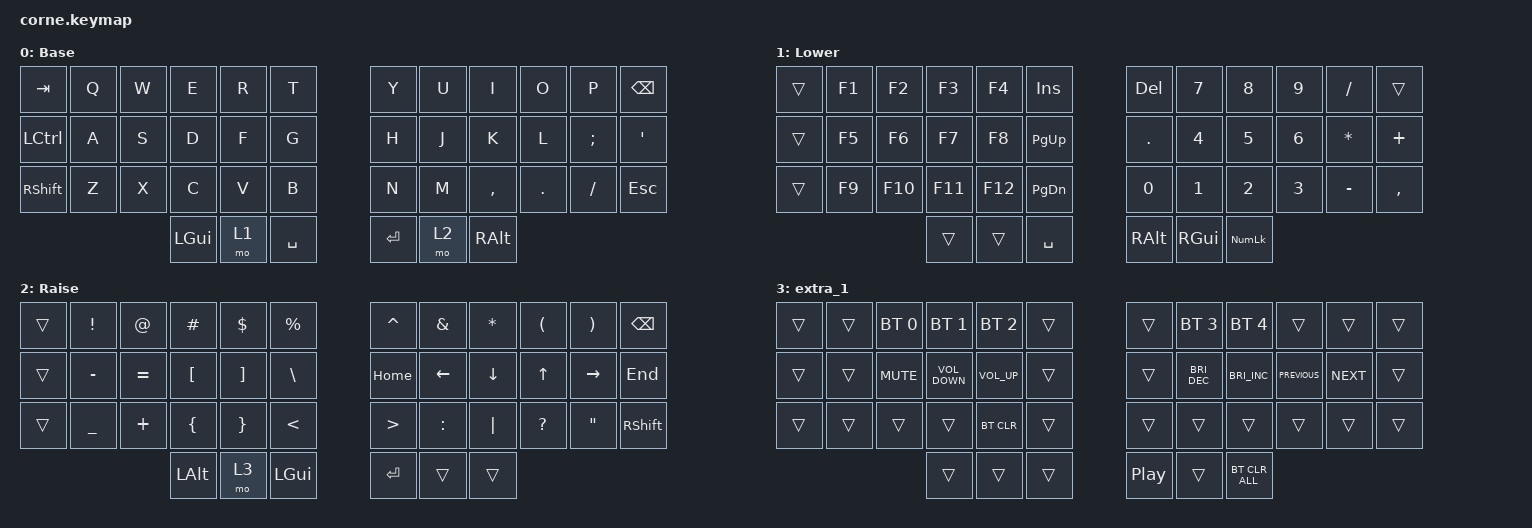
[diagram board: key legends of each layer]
/*
 * Copyright (c) 2020 The ZMK Contributors
 *
 * SPDX-License-Identifier: MIT
 */

#include <behaviors.dtsi>
#include <dt-bindings/zmk/bt.h>
#include <dt-bindings/zmk/keys.h>

/ {
    combos {
        compatible = "zmk,combos";

        caps {
            bindings = <&kp CAPSLOCK>;
            key-positions = <24 35>;
        };

        shift_right {
            bindings = <&kp RIGHT_SHIFT>;
            key-positions = <19 20>;
        };

        ctrl_right {
            bindings = <&kp RCTRL>;
            key-positions = <19 20 21>;
        };

        shift_left {
            bindings = <&kp LEFT_SHIFT>;
            key-positions = <16 15>;
        };

        ctrl_left {
            bindings = <&kp LEFT_CONTROL>;
            key-positions = <16 15 14>;
        };

        alt_righ {
            bindings = <&kp LEFT_ALT>;
            key-positions = <3 4>;
        };
    };

    keymap {
        compatible = "zmk,keymap";

        base_layer {
            // -----------------------------------------------------------------------------------------
            // |  TAB |  Q  |  W  |  E   |  R  |  T  |   |  Y  |  U   |  I  |  O  |  P  | BKSP |
            // | CTRL |  A  |  S  |  D   |  F  |  G  |   |  H  |  J   |  K  |  L  |  ;  |  '   |
            // | SHFT |  Z  |  X  |  C   |  V  |  B  |   |  N  |  M   |  ,  |  .  |  /  | ESC  |
            //                    | caps | LWR | SPC |   | ENT | RSE  | DEL |

            display-name = "Base";
            bindings = <
&kp TAB          &kp Q  &kp W  &kp E         &kp R  &kp T        &kp Y    &kp U  &kp I          &kp O    &kp P          &kp BSPC
&kp LCTRL        &kp A  &kp S  &kp D         &kp F  &kp G        &kp H    &kp J  &kp K          &kp L    &kp SEMICOLON  &kp SQT
&kp RIGHT_SHIFT  &kp Z  &kp X  &kp C         &kp V  &kp B        &kp N    &kp M  &kp COMMA      &kp DOT  &kp FSLH       &kp ESC
                               &kp LEFT_GUI  &mo 1  &kp SPACE    &kp RET  &mo 2  &kp RIGHT_ALT
            >;
        };

        number_layer {
            // -----------------------------------------------------------------------------------------
            // |  TAB |  F1  |  F2  |  F3  | F4 |   INS    |   |  DEL  |  7  |  8    |  9  |  /  | BKSP |
            // | CTRL |  F5  |  F6  |  F7  | F8 |  P_UP    |   |   .   |  4  |  5    |  6  |  *  |   +  | 
            // | SHFT |  F9  |  F10 |  F11 | F12|  P_DOWN  |   | 0     |  1  |  2    |  3  |  -  |   ,  |
            //                      |      |    |  SPC     |   | ENT   |     | b_num |

            display-name = "Lower";
            bindings = <
&trans  &kp F1  &kp F2   &kp F3   &kp F4   &kp INSERT       &kp DELETE     &kp N7         &kp N8        &kp N9        &kp SLASH     &trans
&trans  &kp F5  &kp F6   &kp F7   &kp F8   &kp PAGE_UP      &kp PERIOD     &kp NUMBER_4   &kp N5        &kp NUMBER_6  &kp ASTERISK  &kp PLUS
&trans  &kp F9  &kp F10  &kp F11  &kp F12  &kp PAGE_DOWN    &kp N0         &kp NUMBER_1   &kp NUMBER_2  &kp NUMBER_3  &kp MINUS     &kp COMMA
                         &trans   &trans   &kp SPACE        &kp RIGHT_ALT  &kp RIGHT_GUI  &kp KP_NUM
            >;
        };

        symbol_layer {
            // -----------------------------------------------------------------------------------------
            // |  TAB |  !  |  @  |  #  |  $   |  %  |   |  ^   |  &    |  *   |  (   |  )     |  BKSP |
            // | CTRL |  -  |  =  |  [  |  ]   |  \  |   | HOME |  LEFT | DOWN |  UP  |  RIGHT |  END  |
            // | SHFT |  _  |  +  |  {  |  }   |  <  |   |  >   |   :   |   |  |  ?   |   "    |  SHFT |
            //                    |     |  MO3 | SPC |   | ENT  |       |      |

            display-name = "Raise";
            bindings = <
&trans  &kp EXCL   &kp AT     &kp HASH          &kp DLLR           &kp PRCNT       &kp CARET  &kp AMPS   &kp ASTERISK  &kp LPAR      &kp RPAR           &kp BSPC
&trans  &kp MINUS  &kp EQUAL  &kp LEFT_BRACKET  &kp RIGHT_BRACKET  &kp BSLH        &kp HOME   &kp LEFT   &kp DOWN      &kp UP_ARROW  &kp RIGHT          &kp END
&trans  &kp UNDER  &kp PLUS   &kp LBRC          &kp RBRC           &kp LT          &kp GT     &kp COLON  &kp PIPE      &kp QUESTION  &kp DOUBLE_QUOTES  &kp RIGHT_SHIFT
                              &kp LEFT_ALT      &mo 3              &kp LEFT_GUI    &kp RET    &trans     &trans
            >;
        };

        adjust_layer {
            // -----------------------------------------------------------------------------------------
            // |   |  |  BT0 |  BT1    |  BT2   |    |    |     |    BT3   |    BT4     |       |       |      |
            // |   |  | MUTE |  V_DOWN | V_UP   |    |    |     | BRIG_DEC |  BRIG_INC  | PREVI | NEXT  |      |
            // |   |  |      |         | BT_CLR |    |    |     |          |            |       |       |      |
            //               |         |        |    |    | P_P |          | BT_CLR_ALL |

            display-name = "extra_1";
            bindings = <
&trans  &trans  &bt BT_SEL 0  &bt BT_SEL 1       &bt BT_SEL 2     &trans    &trans            &bt BT_SEL 3          &bt BT_SEL 4          &trans          &trans      &trans
&trans  &trans  &kp C_MUTE    &kp C_VOLUME_DOWN  &kp C_VOLUME_UP  &trans    &trans            &kp C_BRIGHTNESS_DEC  &kp C_BRIGHTNESS_INC  &kp C_PREVIOUS  &kp C_NEXT  &trans
&trans  &trans  &trans        &trans             &bt BT_CLR       &trans    &trans            &trans                &trans                &trans          &trans      &trans
                              &trans             &trans           &trans    &kp C_PLAY_PAUSE  &trans                &bt BT_CLR_ALL
            >;
        };
    };
};
